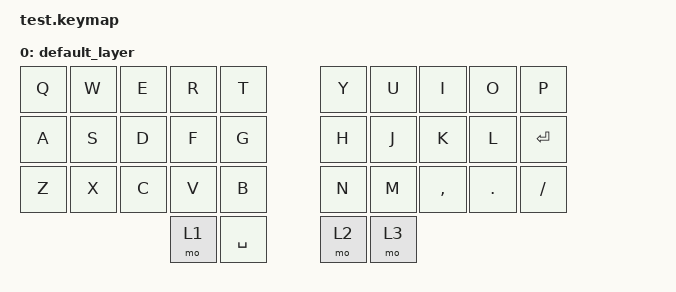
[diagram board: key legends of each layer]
#include <dt-bindings/zmk/keys.h>
#include <dt-bindings/zmk/modifiers.h>

/ {
    keymap {
        compatible = "zmk,keymap";

        default_layer {
            bindings = <
                &kp Q       &kp W       &kp E       &kp R       &kp T       &kp Y       &kp U       &kp I       &kp O       &kp P
                &kp A       &kp S       &kp D       &kp F       &kp G       &kp H       &kp J       &kp K       &kp L       &kp RET
                &kp Z       &kp X       &kp C       &kp V       &kp B       &kp N       &kp M       &kp COMMA   &kp DOT     &kp SLASH
                            &mo 1       &kp SPACE   &mo 2       &mo 3
            >;
        };
    };
};
